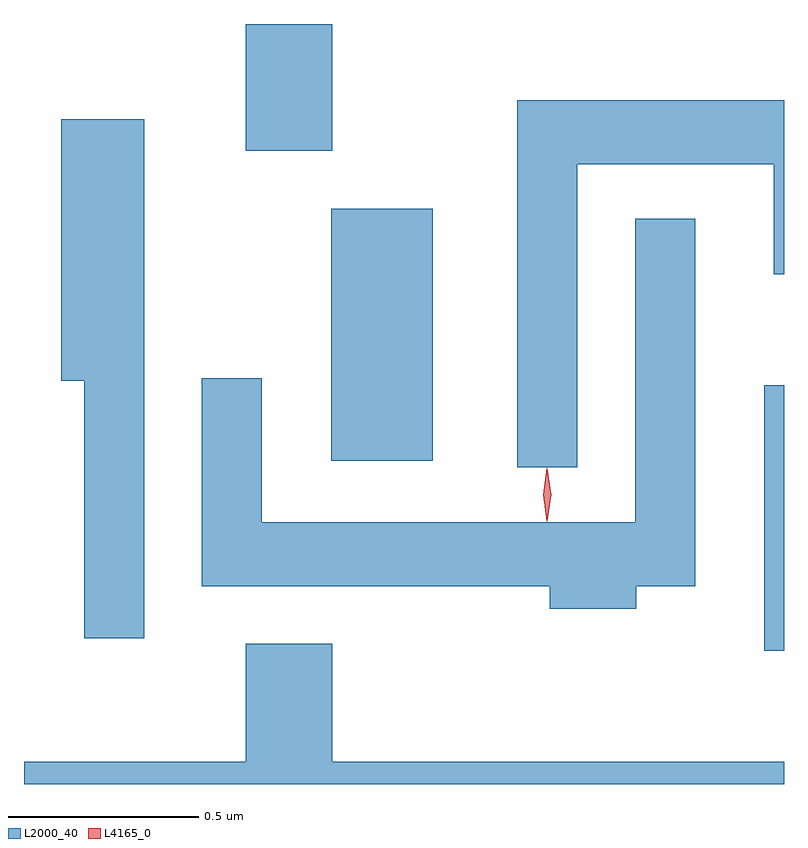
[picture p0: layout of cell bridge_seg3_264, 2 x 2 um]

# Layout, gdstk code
import gdstk
lib = gdstk.Library(unit=1e-6, precision=1e-09)
def R(c, l, rs):  # rectangles x0, y0, x1, y1
    for r in rs: c.add(gdstk.rectangle(r[:2], r[2:], *l))
def P(c, l, *ps):  # polygons
    for p in ps: c.add(gdstk.Polygon(p, *l))
L2000_40 = (2000, 40)
L4165_0 = (4165, 0)

bridge_seg3_264 = lib.new_cell('bridge_seg3_264')
R(bridge_seg3_264, L2000_40, [(1039.286,1139.896,1039.338,1140.594), (1038.146,1140.396,1038.414,1141.059), (1037.921,1141.211,1038.149,1141.545)])
P(bridge_seg3_264, L2000_40, [(1038.794,1141.176),(1039.311,1141.176),(1039.311,1140.886),(1039.338,1140.886),(1039.338,1141.344),(1038.636,1141.344),(1038.636,1140.378),(1038.794,1140.378)],
  [(1037.654,1141.294),(1037.436,1141.294),(1037.436,1140.606),(1037.496,1140.606),(1037.496,1139.928),(1037.654,1139.928)],
  [(1038.949,1140.066),(1039.104,1140.066),(1039.104,1141.033),(1038.946,1141.033),(1038.946,1140.234),(1037.964,1140.234),(1037.964,1140.613),(1037.806,1140.613),(1037.806,1140.066),(1038.721,1140.066),(1038.721,1140.006),(1038.949,1140.006)],
  [(1039.338,1139.604),(1038.149,1139.604),(1038.149,1139.914),(1037.921,1139.914),(1037.921,1139.604),(1037.338,1139.604),(1037.338,1139.545),(1039.338,1139.545)])
P(bridge_seg3_264, L4165_0, [(1038.715,1140.239),(1038.714,1140.24),(1038.705,1140.306),(1038.714,1140.372),(1038.715,1140.373),(1038.715,1140.372),(1038.725,1140.306),(1038.715,1140.24)],
  [(1038.714,1140.237),(1038.705,1140.306),(1038.714,1140.376),(1038.715,1140.376),(1038.715,1140.376),(1038.725,1140.306),(1038.715,1140.237),(1038.715,1140.237)])

lib.write_gds('bridge_seg3_264.gds')
